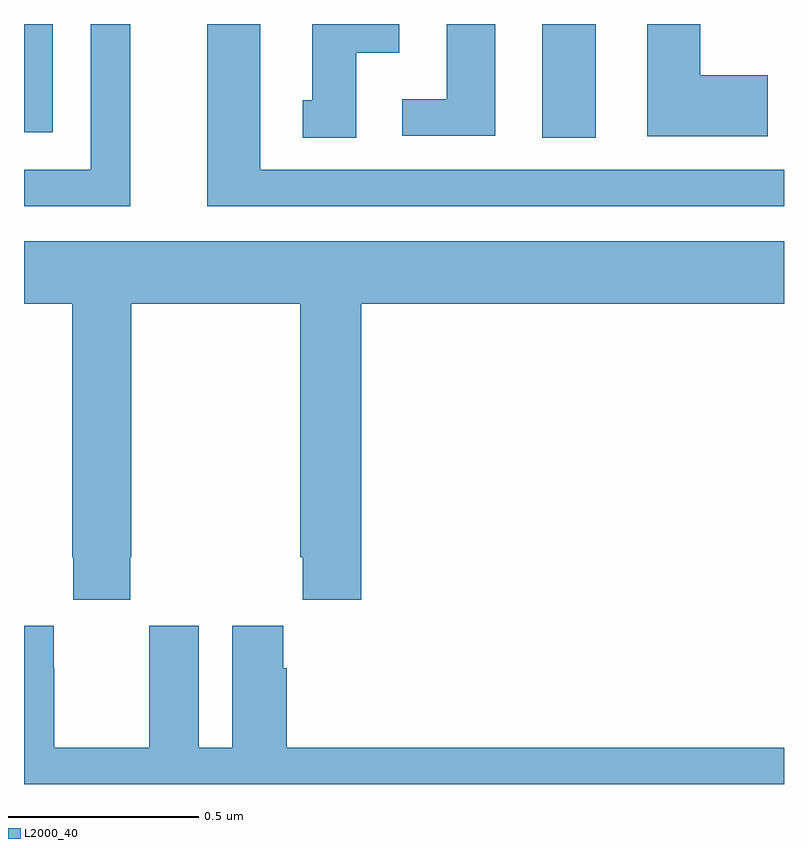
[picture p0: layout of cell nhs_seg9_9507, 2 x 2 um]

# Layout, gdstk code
import gdstk
lib = gdstk.Library(unit=1e-6, precision=1e-09)
def R(c, l, rs):  # rectangles x0, y0, x1, y1
    for r in rs: c.add(gdstk.rectangle(r[:2], r[2:], *l))
def P(c, l, *ps):  # polygons
    for p in ps: c.add(gdstk.Polygon(p, *l))
L2000_40 = (2000, 40)

nhs_seg9_9507 = lib.new_cell('nhs_seg9_9507')
R(nhs_seg9_9507, L2000_40, [(232.364,1186.201,232.504,1186.5), (231,1186.215,231.076,1186.5)])
P(nhs_seg9_9507, L2000_40, [(232.24,1186.5),(232.112,1186.5),(232.112,1186.302),(231.996,1186.302),(231.996,1186.206),(232.24,1186.206)],
  [(233,1186.116),(231.622,1186.116),(231.622,1186.5),(231.482,1186.5),(231.482,1186.02),(233,1186.02)],
  [(231.28,1186.5),(231.176,1186.5),(231.176,1186.116),(231,1186.116),(231,1186.02),(231.28,1186.02)],
  [(232.957,1186.365),(232.78,1186.365),(232.78,1186.5),(232.64,1186.5),(232.64,1186.205),(232.957,1186.205)],
  [(231.874,1186.424),(231.988,1186.424),(231.988,1186.5),(231.758,1186.5),(231.758,1186.299),(231.734,1186.299),(231.734,1186.201),(231.874,1186.201)],
  [(231.279,1185.097),(231.282,1185.097),(231.282,1185.764),(231.727,1185.764),(231.727,1185.097),(231.733,1185.097),(231.733,1184.985),(231.887,1184.985),(231.887,1185.764),(233,1185.764),(233,1185.928),(231,1185.928),(231,1185.764),(231.127,1185.764),(231.127,1185.097),(231.129,1185.097),(231.129,1184.985),(231.279,1184.985)],
  [(233,1184.596),(231.692,1184.596),(231.692,1184.804),(231.682,1184.804),(231.682,1184.917),(231.548,1184.917),(231.548,1184.596),(231.46,1184.596),(231.46,1184.917),(231.33,1184.917),(231.33,1184.804),(231.329,1184.804),(231.329,1184.596),(231.079,1184.596),(231.079,1184.804),(231.078,1184.804),(231.078,1184.917),(231,1184.917),(231,1184.5),(233,1184.5)])

lib.write_gds('nhs_seg9_9507.gds')
